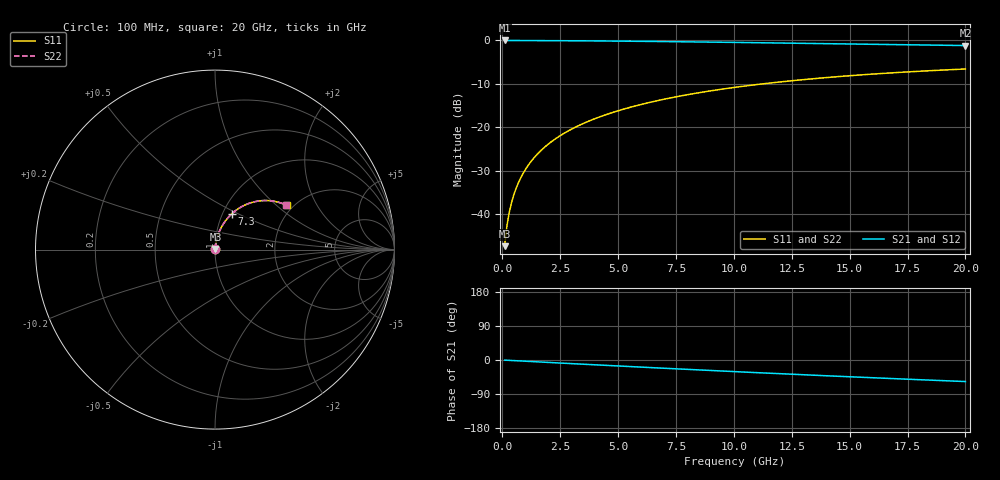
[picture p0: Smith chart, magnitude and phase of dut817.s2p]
! Touchstone file exported from HFSS 2026.1.0
!  File:  C:/ffzhzh/LocalFiles/Ansys_Project_Files/temp_train_BSMRDL_817_1783169983_55132.aedt
!  Generated:  09:01:09 PM Jul  4, 2026
!  Design:  BSMRDL
!  Project:  temp_train_BSMRDL_817_1783169983_55132
! Variables:
!  h_bsmrdl = 5.7um
!  h_ox = 20um
!  h_rdl = 5um
!  h_sub = 80um
!  h_tmrdl = 5um
!  h_tsv = 80um
!  h_via = 3um
!  l_bsmrdl = 891.97um
!  l_sub = 1291.97um
!  l_tmrdl = 200um
!  m_sub = 200um
!  pitch = 54.92um
!  r_tsv = 6um
!  s_tmrdl = 10um
!  w_bsmrdl = 23.65um
!  w_sub = 500um
!  w_tmrdl = 12um
!  x_tsv_center1 = 206um
!  x_tsv_center2 = 1121.62um
!  x_tsv_center3 = 1333.62um
!  x_tsv_center4 = 2249.24um
!  x_tsv_center5 = 2461.24um
!  x_tsv_center6 = 3376.86um
# GHz S MA R 50.000000
! Terminal data exported
! Port[1] = BSM_RDL1_1_T1
! Port[2] = BSM_RDL1_1_T2
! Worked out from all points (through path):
!   200 points, 100 MHz to 20 GHz, reference 50 ohm
!   highest |S21| = -0.02 dB at 100 MHz (marker M1); lowest = -1.2 dB at 20 GHz (marker M2)
!   group delay of S21, straight-line fit = 7.9 ps
!   lowest |S11| = -47.3 dB at 100 MHz (marker M3), VSWR 1.01, Z = 50.3 + j0.351 ohm
!   |S11| at or under -10 dB: start of sweep to 11.24 GHz
!   |S22| runs from -47.3 to -6.6 dB; largest |S21 - S12| = 3.3e-14
!   S11 on the Smith chart (normalised r, x): 100 MHz: 1.01, +0.01; 7.3 GHz: 1.10, +0.46; 20 GHz: 1.84, +1.17
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0.1  0.004325 53.9  0.9975 -0.3  0.9975 -0.3  0.004325 53.9
! Gamma 0 0 0 0
! Port Impedance 50 0 50 0
0.2  0.007392 67.8  0.9973 -0.7  0.9973 -0.7  0.007392 67.8
0.3  0.01054 73.2  0.9971 -1.0  0.9971 -1.0  0.01054 73.2
0.4  0.0137 76.1  0.9969 -1.3  0.9969 -1.3  0.0137 76.1
0.5  0.01688 77.9  0.9968 -1.6  0.9968 -1.6  0.01688 77.9
0.7  0.02327 79.8  0.9966 -2.3  0.9966 -2.3  0.02327 79.8
0.8  0.02648 80.3  0.9964 -2.6  0.9964 -2.6  0.02648 80.3
1  0.0329 80.8  0.9961 -3.2  0.9961 -3.2  0.0329 80.8
1.4  0.04571 80.8  0.9953 -4.5  0.9953 -4.5  0.04571 80.8
1.7  0.05527 80.4  0.9945 -5.5  0.9945 -5.5  0.05527 80.4
2  0.06476 79.8  0.9936 -6.4  0.9936 -6.4  0.06476 79.8
2.7  0.08661 78.0  0.9912 -8.7  0.9912 -8.7  0.08661 78.0
3.5  0.111 75.8  0.988 -11.2  0.988 -11.2  0.111 75.8
4.2  0.1319 73.8  0.9847 -13.3  0.9847 -13.3  0.1319 73.8
5  0.1553 71.5  0.9806 -15.8  0.9806 -15.8  0.1553 71.5
6.8  0.2058 66.4  0.9701 -21.2  0.9701 -21.2  0.2058 66.4
7.3  0.2192 65.0  0.9669 -22.7  0.9669 -22.7  0.2192 65.0
8.6  0.2531 61.3  0.9581 -26.5  0.9581 -26.5  0.2531 61.3
10.1  0.29 57.2  0.9471 -30.9  0.9471 -30.9  0.29 57.2
13.4  0.3621 48.3  0.9213 -40.0  0.9213 -40.0  0.3621 48.3
16.7  0.4216 39.8  0.8955 -48.7  0.8955 -48.7  0.4216 39.9
20  0.4688 31.8  0.8719 -56.9  0.8719 -56.9  0.4688 31.8
